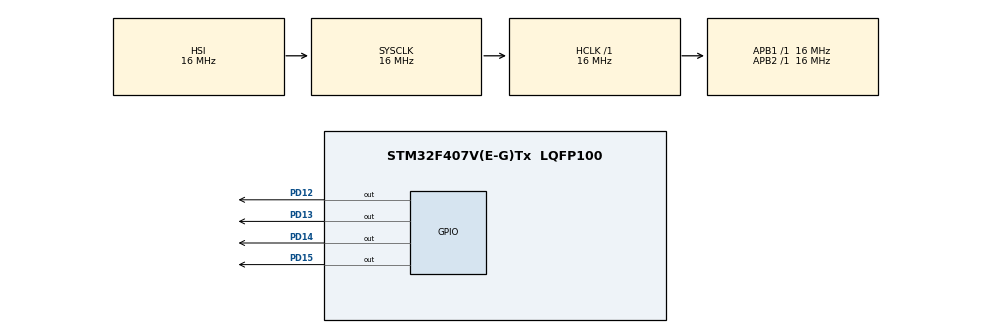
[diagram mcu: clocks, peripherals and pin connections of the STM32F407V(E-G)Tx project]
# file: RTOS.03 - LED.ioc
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Mcu.Family=STM32F4
Mcu.Name=STM32F407V(E-G)Tx
Mcu.Package=LQFP100
NVIC.PriorityGroup=NVIC_PRIORITYGROUP_4
NVIC.TIM6_DAC_IRQn=true\:15\:0\:false\:false\:true\:false\:true
NVIC.TimeBase=TIM6_DAC_IRQn
NVIC.TimeBaseIP=TIM6
PD12.Signal=GPIO_Output
PD13.Signal=GPIO_Output
PD14.Signal=GPIO_Output
PD15.Signal=GPIO_Output
ProjectManager.HeapSize=0x200
ProjectManager.StackSize=0x400
ProjectManager.TargetToolchain=STM32CubeIDE
RCC.AHBFreq_Value=16000000
RCC.APB1Freq_Value=16000000
RCC.APB2Freq_Value=16000000
RCC.CortexFreq_Value=16000000
RCC.HSE_VALUE=25000000
RCC.HSI_VALUE=16000000
RCC.LSE_VALUE=32768
RCC.SYSCLKFreq_VALUE=16000000
RCC.VCOOutputFreq_Value=192000000
VP_SYS_VS_tim6.Mode=TIM6
board=custom

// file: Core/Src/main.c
/* USER CODE BEGIN Header */
/**
  ******************************************************************************
  * @file           : main.c
  * @brief          : Main program body
  ******************************************************************************
  * @attention
  *
  * Copyright (c) 2022 STMicroelectronics.
  * All rights reserved.
  *
  * This software is licensed under terms that can be found in the LICENSE file
  * in the root directory of this software component.
  * If no LICENSE file comes with this software, it is provided AS-IS.
  *
  ******************************************************************************
  */
/* USER CODE END Header */
#include "main.h"

/* USER CODE BEGIN Includes */
#include <stdio.h>
#include "FreeRTOS.h"
#include "task.h"
/* USER CODE END Includes */

/* USER CODE BEGIN PV */
#define DWT_CTRL (*(volatile uint32_t*) 0xE0001000)
/* USER CODE END Includes */

/* Private typedef -----------------------------------------------------------*/
/* USER CODE BEGIN PTD */

/* USER CODE END PTD */

/* Private define ------------------------------------------------------------*/
/* USER CODE BEGIN PD */
/* USER CODE END PD */

/* Private macro -------------------------------------------------------------*/
/* USER CODE BEGIN PM */

/* USER CODE END PM */

/* Private variables ---------------------------------------------------------*/

/* USER CODE BEGIN PV */

/* USER CODE END PV */

void SystemClock_Config(void);
static void MX_GPIO_Init(void);
/* USER CODE BEGIN PFP */
static void task_green_handler(void*  parameters);
static void task_red_handler(void*  parameters);
static void task_blue_handler(void*  parameters);
/* USER CODE END PFP */

int main(void)
{
  /* USER CODE BEGIN 1 */
	  TaskHandle_t task1_handle;
	  TaskHandle_t task2_handle;
	  TaskHandle_t task3_handle;

	  BaseType_t status;
  /* USER CODE END 1 */

  /* MCU Configuration--------------------------------------------------------*/

  /* Reset of all peripherals, Initializes the Flash interface and the Systick. */
  HAL_Init();

  /* Configure the system clock */
  SystemClock_Config();

  /* Initialize all configured peripherals */
  MX_GPIO_Init();
  /* USER CODE BEGIN 2 */

  //cyclic counter
  DWT_CTRL |= (1<<0);

  status = xTaskCreate(task_green_handler, "LED_Green", 200, NULL, 2, &task1_handle);
  configASSERT(status == pdPASS);

  status = xTaskCreate(task_red_handler, "LED_Red", 200, NULL, 2, &task2_handle);
  configASSERT(status == pdPASS);

  status = xTaskCreate(task_blue_handler, "LED_Blue", 200, NULL, 2, &task3_handle);
  configASSERT(status == pdPASS);

  //start freertos scheduler
  vTaskStartScheduler();
  /* USER CODE END 2 */

  /* Infinite loop */
  while (1)
  {

  }
}

void SystemClock_Config(void)
{
  RCC_OscInitTypeDef RCC_OscInitStruct = {0};
  RCC_ClkInitTypeDef RCC_ClkInitStruct = {0};

  /** Configure the main internal regulator output voltage
  */
  __HAL_RCC_PWR_CLK_ENABLE();
  __HAL_PWR_VOLTAGESCALING_CONFIG(PWR_REGULATOR_VOLTAGE_SCALE1);
  /** Initializes the RCC Oscillators according to the specified parameters
  * in the RCC_OscInitTypeDef structure.
  */
  RCC_OscInitStruct.OscillatorType = RCC_OSCILLATORTYPE_HSI;
  RCC_OscInitStruct.HSIState = RCC_HSI_ON;
  RCC_OscInitStruct.HSICalibrationValue = RCC_HSICALIBRATION_DEFAULT;
  RCC_OscInitStruct.PLL.PLLState = RCC_PLL_NONE;
  if (HAL_RCC_OscConfig(&RCC_OscInitStruct) != HAL_OK)
  {
    Error_Handler();
  }
  /** Initializes the CPU, AHB and APB buses clocks
  */
  RCC_ClkInitStruct.ClockType = RCC_CLOCKTYPE_HCLK|RCC_CLOCKTYPE_SYSCLK
                              |RCC_CLOCKTYPE_PCLK1|RCC_CLOCKTYPE_PCLK2;
  RCC_ClkInitStruct.SYSCLKSource = RCC_SYSCLKSOURCE_HSI;
  RCC_ClkInitStruct.AHBCLKDivider = RCC_SYSCLK_DIV1;
  RCC_ClkInitStruct.APB1CLKDivider = RCC_HCLK_DIV1;
  RCC_ClkInitStruct.APB2CLKDivider = RCC_HCLK_DIV1;

  if (HAL_RCC_ClockConfig(&RCC_ClkInitStruct, FLASH_LATENCY_0) != HAL_OK)
  {
    Error_Handler();
  }
}

static void MX_GPIO_Init(void)
{
  GPIO_InitTypeDef GPIO_InitStruct = {0};

  /* GPIO Ports Clock Enable */
  __HAL_RCC_GPIOD_CLK_ENABLE();

  /*Configure GPIO pin Output Level */
  HAL_GPIO_WritePin(GPIOD, GPIO_PIN_12|GPIO_PIN_13|GPIO_PIN_14|GPIO_PIN_15, GPIO_PIN_RESET);

  /*Configure GPIO pins : PD12 PD13 PD14 PD15 */
  GPIO_InitStruct.Pin = GPIO_PIN_12|GPIO_PIN_13|GPIO_PIN_14|GPIO_PIN_15;
  GPIO_InitStruct.Mode = GPIO_MODE_OUTPUT_PP;
  GPIO_InitStruct.Pull = GPIO_NOPULL;
  GPIO_InitStruct.Speed = GPIO_SPEED_FREQ_LOW;
  HAL_GPIO_Init(GPIOD, &GPIO_InitStruct);

}

/* USER CODE BEGIN 4 */
static void task_green_handler(void* parameters)
{
	TickType_t last_wakeup_time = xTaskGetTickCount();
	while(1)
	{
		HAL_GPIO_TogglePin(GPIOD, 12);
//		HAL_Delay(1000);
//		vTaskDelay(pdMS_TO_TICKS(1000));
		vTaskDelayUntil(&last_wakeup_time,pdMS_TO_TICKS(1000));
	}
}
static void task_red_handler(void* parameters)
{
	TickType_t last_wakeup_time = xTaskGetTickCount();
	while(1)
		{
		HAL_GPIO_TogglePin(GPIOD, 14);
//		HAL_Delay(800);
//		vTaskDelay(pdMS_TO_TICKS(1000));
		vTaskDelayUntil(&last_wakeup_time,pdMS_TO_TICKS(1000));
		}
}
static void task_blue_handler(void* parameters)
{
	TickType_t last_wakeup_time = xTaskGetTickCount();
	while(1)
		{
		HAL_GPIO_TogglePin(GPIOD, 13);
//		HAL_Delay(400);
//		vTaskDelay(pdMS_TO_TICKS(1000));
		vTaskDelayUntil(&last_wakeup_time,pdMS_TO_TICKS(1000));
		}
}
/* USER CODE END 4 */

void HAL_TIM_PeriodElapsedCallback(TIM_HandleTypeDef *htim)
{
  if (htim->Instance == TIM6) {
    HAL_IncTick();
  }
}

void Error_Handler(void)
{
  __disable_irq();
  while (1)
  {
  }
}
